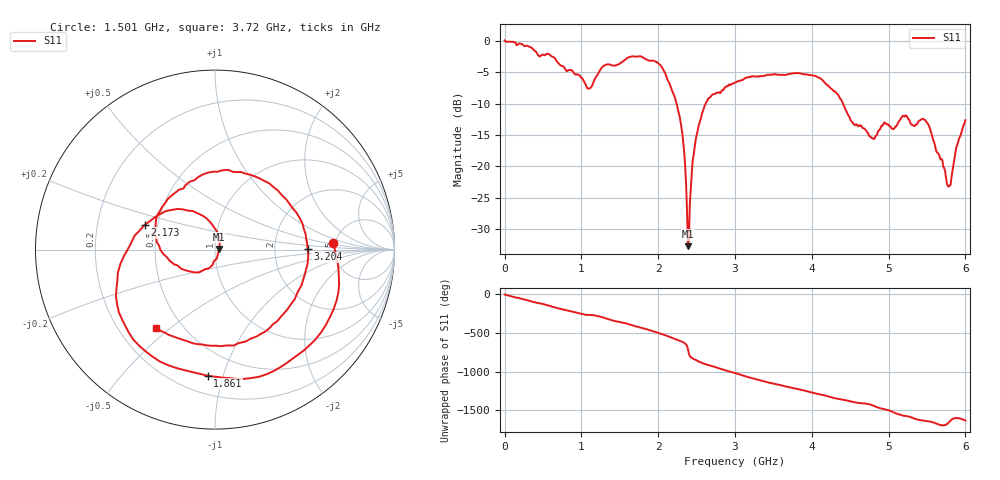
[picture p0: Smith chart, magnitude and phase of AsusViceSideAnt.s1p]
# Hz S RI R 50
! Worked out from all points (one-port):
!   501 points, 1 MHz to 6 GHz, reference 50 ohm
!   lowest |S11| = -32.7 dB at 2.389 GHz (marker M1), VSWR 1.05, Z = 52.4 + j0.315 ohm
!   |S11| at or under -10 dB: 2.24 GHz to 2.62 GHz (380 MHz wide, 15.6 % of centre); 4.406 GHz to end of sweep
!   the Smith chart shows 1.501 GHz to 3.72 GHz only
!   S11 on the Smith chart (normalised r, x): 1.501 GHz: 4.76, +0.63; 1.861 GHz: 0.32, -0.89; 2.173 GHz: 0.42, +0.14; 3.204 GHz: 3.13, +0.02; 3.72 GHz: 0.36, -0.45
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1000000  1.004 -0.0105
3.36944e8  0.0623 -0.886
5.88902e8  -0.6572 -0.4064
7.56874e8  -0.6117 0.1399
1.26079e9  0.218 0.5648
1.50075e9  0.6568 0.0374
1.632728e9  0.6407 -0.3757
1.86069e9  -0.0414 -0.7026
2.028662e9  -0.5355 -0.3494
2.172638e9  -0.3922 0.1378
2.256624e9  -0.1768 0.2238
2.388602e9  0.023 0.003
2.472588e9  -0.0701 -0.1179
2.592568e9  -0.2853 -0.0273
2.748542e9  -0.2787 0.2568
3.0005e9  0.2223 0.4081
3.204466e9  0.5156 0.00291
3.456424e9  0.2136 -0.4912
3.72038e9  -0.3271 -0.4354
3.756374e9  -0.3807 -0.3954
3.972338e9  -0.5305 0.0425
4.2003e9  -0.2377 0.3734
4.50025e9  0.136 0.1965
4.932178e9  0.1576 -0.1488
5.256124e9  -0.1856 -0.1488
5.508082e9  -0.2037 0.0828
5.784036e9  -0.0547 0.0422
6e9  -0.2256 0.0586
